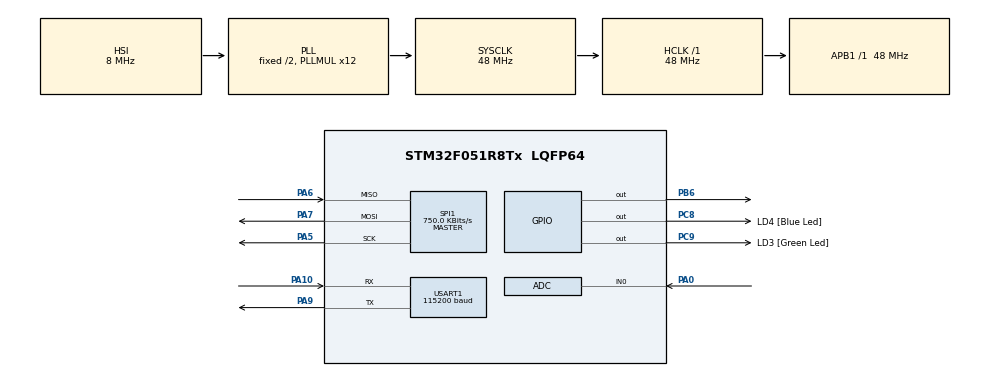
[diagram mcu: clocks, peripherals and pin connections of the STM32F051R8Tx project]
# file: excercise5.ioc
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Dma.Request0=SPI1_TX
Dma.SPI1_TX.0.Direction=DMA_MEMORY_TO_PERIPH
Dma.SPI1_TX.0.Instance=DMA1_Channel3
Dma.SPI1_TX.0.MemDataAlignment=DMA_MDATAALIGN_BYTE
Dma.SPI1_TX.0.MemInc=DMA_MINC_ENABLE
Dma.SPI1_TX.0.Mode=DMA_NORMAL
Dma.SPI1_TX.0.PeriphDataAlignment=DMA_PDATAALIGN_BYTE
Dma.SPI1_TX.0.PeriphInc=DMA_PINC_DISABLE
Dma.SPI1_TX.0.Priority=DMA_PRIORITY_LOW
Mcu.Family=STM32F0
Mcu.Name=STM32F051R8Tx
Mcu.Package=LQFP64
NVIC.DMA1_Channel2_3_IRQn=true\:0\:0\:false\:false\:true\:false\:true\:true
NVIC.SPI1_IRQn=true\:0\:0\:false\:false\:true\:true\:true\:true
PA0.Mode=IN0
PA0.Signal=ADC_IN0
PA10.Mode=Asynchronous
PA10.Signal=USART1_RX
PA13.GPIO_Label=SWDIO
PA13.Mode=Serial_Wire
PA13.Signal=SYS_SWDIO
PA14.GPIO_Label=SWCLK
PA14.Mode=Serial_Wire
PA14.Signal=SYS_SWCLK
PA5.Mode=Full_Duplex_Master
PA5.Signal=SPI1_SCK
PA6.Mode=Full_Duplex_Master
PA6.Signal=SPI1_MISO
PA7.Mode=Full_Duplex_Master
PA7.Signal=SPI1_MOSI
PA9.Mode=Asynchronous
PA9.Signal=USART1_TX
PB6.Signal=GPIO_Output
PC8.GPIO_Label=LD4 [Blue Led]
PC8.Signal=GPIO_Output
PC9.GPIO_Label=LD3 [Green Led]
PC9.Signal=GPIO_Output
ProjectManager.HeapSize=0x200
ProjectManager.StackSize=0x400
ProjectManager.TargetToolchain=STM32CubeIDE
RCC.AHBFreq_Value=48000000
RCC.APB1Freq_Value=48000000
RCC.APB1TimFreq_Value=48000000
RCC.HCLKFreq_Value=48000000
RCC.PLLMUL=RCC_PLL_MUL12
RCC.SYSCLKFreq_VALUE=48000000
RCC.SYSCLKSource=RCC_SYSCLKSOURCE_PLLCLK
SPI1.BaudRatePrescaler=SPI_BAUDRATEPRESCALER_64
SPI1.CalculateBaudRate=750.0 KBits/s
SPI1.DataSize=SPI_DATASIZE_8BIT
SPI1.Direction=SPI_DIRECTION_2LINES
SPI1.Mode=SPI_MODE_MASTER
SPI1.VirtualType=VM_MASTER
USART1.BaudRate=115200
USART1.VirtualMode-Asynchronous=VM_ASYNC
board=STM32F0DISCOVERY

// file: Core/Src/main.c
/* USER CODE BEGIN Header */
/**
  ******************************************************************************
  * @file           : main.c
  * @brief          : Main program body
  ******************************************************************************
  * @attention
  *
  * Copyright (c) 2024 STMicroelectronics.
  * All rights reserved.
  *
  * This software is licensed under terms that can be found in the LICENSE file
  * in the root directory of this software component.
  * If no LICENSE file comes with this software, it is provided AS-IS.
  *
  ******************************************************************************
  */
/* USER CODE END Header */
#include "main.h"

/* USER CODE BEGIN Includes */
#include "stdio.h"
#include "string.h"
#include "stdint.h"
/* USER CODE END Includes */

ADC_HandleTypeDef hadc;

SPI_HandleTypeDef hspi1;
DMA_HandleTypeDef hdma_spi1_tx;

UART_HandleTypeDef huart1;

void SystemClock_Config(void);
static void MX_GPIO_Init(void);
static void MX_DMA_Init(void);
static void MX_SPI1_Init(void);
static void MX_USART1_UART_Init(void);
static void MX_ADC_Init(void);

int main(void)
{

  /* MCU Configuration--------------------------------------------------------*/

  /* Reset of all peripherals, Initializes the Flash interface and the Systick. */
  HAL_Init();

  /* Configure the system clock */
  SystemClock_Config();

  /* Initialize all configured peripherals */
  MX_GPIO_Init();
  MX_DMA_Init();
  MX_SPI1_Init();
  MX_USART1_UART_Init();
  MX_ADC_Init();
  /* USER CODE BEGIN 2 */

  	  /* variable to hold value of adc conversion into voltage */
	  float voltage = 0;

	  /*char array to hold the uart info */
	  char uart_buf[50];

	  /* array to hold the received values from the spi */
	  u_int8_t spi_buf[2];

	  /* the amount of the uart_buf used */
	  int uart_buf_len;

  /* USER CODE END 2 */

  /* Infinite loop */
  while (1)
  {

    /* USER CODE BEGIN 3 */

	  /*
	   Make sure the CNV pin is low to start just in case high before.
	   Added slight delay after just to give time for pin reset.
	   */
	  HAL_GPIO_WritePin(GPIOB, GPIO_PIN_6, GPIO_PIN_RESET);
	  HAL_Delay(1);

	  /*
	   Set the CNV pin high to start the conversion process on the ADC
	   Added a slight delay after just to give time for pin set
	   */
	  HAL_GPIO_WritePin(GPIOB, GPIO_PIN_6, GPIO_PIN_SET);
	  HAL_Delay(1);

	  /*
	   Set the CNV pin low to have ADC forward conversion info into SDO pin on the AFC which can be read
	   through the from the SPI communication.

	   The SPI receives the info and stores it into a buffer

	   Small delay to give time for stuff to occur
	   */
	  HAL_GPIO_WritePin(GPIOB, GPIO_PIN_6, GPIO_PIN_RESET);
	  HAL_SPI_Receive(&hspi1, spi_buf,2, HAL_MAX_DELAY);
	  HAL_Delay(2);

	  /*
	   The Uint8_t wasn't being dereferenced properly so moved into a Uin16_t type.

	   Added voltage calculation from the adc value with voltage of 5 in+
	   */
	  uint16_t adc_value = (spi_buf[0] << 8) | spi_buf[1];
	  voltage = (adc_value /65535.0) * 5; // voltage of 5 in.

	  /*
	   Create message to be transmitted through UART to computer

	   Transmit the data from the stored buffer to the COmputer which can be observed
	   on Serial in Putty on COM3

	   Have loop recur every 1 second to decrease the rate of output
	   */
	  uart_buf_len = sprintf(uart_buf,"%f V\r\n",voltage);
	  HAL_UART_Transmit(&huart1, (u_int8_t*)uart_buf, uart_buf_len, HAL_MAX_DELAY);
	  HAL_Delay(1000);

  }
  /* USER CODE END 3 */
}

void SystemClock_Config(void)
{
  RCC_OscInitTypeDef RCC_OscInitStruct = {0};
  RCC_ClkInitTypeDef RCC_ClkInitStruct = {0};
  RCC_PeriphCLKInitTypeDef PeriphClkInit = {0};

  /** Initializes the RCC Oscillators according to the specified parameters
  * in the RCC_OscInitTypeDef structure.
  */
  RCC_OscInitStruct.OscillatorType = RCC_OSCILLATORTYPE_HSI|RCC_OSCILLATORTYPE_HSI14;
  RCC_OscInitStruct.HSIState = RCC_HSI_ON;
  RCC_OscInitStruct.HSI14State = RCC_HSI14_ON;
  RCC_OscInitStruct.HSICalibrationValue = RCC_HSICALIBRATION_DEFAULT;
  RCC_OscInitStruct.HSI14CalibrationValue = 16;
  RCC_OscInitStruct.PLL.PLLState = RCC_PLL_ON;
  RCC_OscInitStruct.PLL.PLLSource = RCC_PLLSOURCE_HSI;
  RCC_OscInitStruct.PLL.PLLMUL = RCC_PLL_MUL12;
  RCC_OscInitStruct.PLL.PREDIV = RCC_PREDIV_DIV1;
  if (HAL_RCC_OscConfig(&RCC_OscInitStruct) != HAL_OK)
  {
    Error_Handler();
  }

  /** Initializes the CPU, AHB and APB buses clocks
  */
  RCC_ClkInitStruct.ClockType = RCC_CLOCKTYPE_HCLK|RCC_CLOCKTYPE_SYSCLK
                              |RCC_CLOCKTYPE_PCLK1;
  RCC_ClkInitStruct.SYSCLKSource = RCC_SYSCLKSOURCE_PLLCLK;
  RCC_ClkInitStruct.AHBCLKDivider = RCC_SYSCLK_DIV1;
  RCC_ClkInitStruct.APB1CLKDivider = RCC_HCLK_DIV1;

  if (HAL_RCC_ClockConfig(&RCC_ClkInitStruct, FLASH_LATENCY_1) != HAL_OK)
  {
    Error_Handler();
  }
  PeriphClkInit.PeriphClockSelection = RCC_PERIPHCLK_USART1;
  PeriphClkInit.Usart1ClockSelection = RCC_USART1CLKSOURCE_PCLK1;
  if (HAL_RCCEx_PeriphCLKConfig(&PeriphClkInit) != HAL_OK)
  {
    Error_Handler();
  }
}

static void MX_ADC_Init(void)
{

  ADC_ChannelConfTypeDef sConfig = {0};

  /** Configure the global features of the ADC (Clock, Resolution, Data Alignment and number of conversion)
  */
  hadc.Instance = ADC1;
  hadc.Init.ClockPrescaler = ADC_CLOCK_ASYNC_DIV1;
  hadc.Init.Resolution = ADC_RESOLUTION_12B;
  hadc.Init.DataAlign = ADC_DATAALIGN_RIGHT;
  hadc.Init.ScanConvMode = ADC_SCAN_DIRECTION_FORWARD;
  hadc.Init.EOCSelection = ADC_EOC_SINGLE_CONV;
  hadc.Init.LowPowerAutoWait = DISABLE;
  hadc.Init.LowPowerAutoPowerOff = DISABLE;
  hadc.Init.ContinuousConvMode = DISABLE;
  hadc.Init.DiscontinuousConvMode = DISABLE;
  hadc.Init.ExternalTrigConv = ADC_SOFTWARE_START;
  hadc.Init.ExternalTrigConvEdge = ADC_EXTERNALTRIGCONVEDGE_NONE;
  hadc.Init.DMAContinuousRequests = DISABLE;
  hadc.Init.Overrun = ADC_OVR_DATA_PRESERVED;
  if (HAL_ADC_Init(&hadc) != HAL_OK)
  {
    Error_Handler();
  }

  /** Configure for the selected ADC regular channel to be converted.
  */
  sConfig.Channel = ADC_CHANNEL_0;
  sConfig.Rank = ADC_RANK_CHANNEL_NUMBER;
  sConfig.SamplingTime = ADC_SAMPLETIME_1CYCLE_5;
  if (HAL_ADC_ConfigChannel(&hadc, &sConfig) != HAL_OK)
  {
    Error_Handler();
  }

}

static void MX_SPI1_Init(void)
{

  /* SPI1 parameter configuration*/
  hspi1.Instance = SPI1;
  hspi1.Init.Mode = SPI_MODE_MASTER;
  hspi1.Init.Direction = SPI_DIRECTION_2LINES;
  hspi1.Init.DataSize = SPI_DATASIZE_8BIT;
  hspi1.Init.CLKPolarity = SPI_POLARITY_LOW;
  hspi1.Init.CLKPhase = SPI_PHASE_1EDGE;
  hspi1.Init.NSS = SPI_NSS_SOFT;
  hspi1.Init.BaudRatePrescaler = SPI_BAUDRATEPRESCALER_64;
  hspi1.Init.FirstBit = SPI_FIRSTBIT_MSB;
  hspi1.Init.TIMode = SPI_TIMODE_DISABLE;
  hspi1.Init.CRCCalculation = SPI_CRCCALCULATION_DISABLE;
  hspi1.Init.CRCPolynomial = 7;
  hspi1.Init.CRCLength = SPI_CRC_LENGTH_DATASIZE;
  hspi1.Init.NSSPMode = SPI_NSS_PULSE_ENABLE;
  if (HAL_SPI_Init(&hspi1) != HAL_OK)
  {
    Error_Handler();
  }

}

static void MX_USART1_UART_Init(void)
{

  huart1.Instance = USART1;
  huart1.Init.BaudRate = 115200;
  huart1.Init.WordLength = UART_WORDLENGTH_8B;
  huart1.Init.StopBits = UART_STOPBITS_1;
  huart1.Init.Parity = UART_PARITY_NONE;
  huart1.Init.Mode = UART_MODE_TX_RX;
  huart1.Init.HwFlowCtl = UART_HWCONTROL_NONE;
  huart1.Init.OverSampling = UART_OVERSAMPLING_16;
  huart1.Init.OneBitSampling = UART_ONE_BIT_SAMPLE_DISABLE;
  huart1.AdvancedInit.AdvFeatureInit = UART_ADVFEATURE_NO_INIT;
  if (HAL_UART_Init(&huart1) != HAL_OK)
  {
    Error_Handler();
  }

}

static void MX_DMA_Init(void)
{

  /* DMA controller clock enable */
  __HAL_RCC_DMA1_CLK_ENABLE();

  /* DMA interrupt init */
  /* DMA1_Channel2_3_IRQn interrupt configuration */
  HAL_NVIC_SetPriority(DMA1_Channel2_3_IRQn, 0, 0);
  HAL_NVIC_EnableIRQ(DMA1_Channel2_3_IRQn);

}

static void MX_GPIO_Init(void)
{
  GPIO_InitTypeDef GPIO_InitStruct = {0};

  /* GPIO Ports Clock Enable */
  __HAL_RCC_GPIOA_CLK_ENABLE();
  __HAL_RCC_GPIOC_CLK_ENABLE();
  __HAL_RCC_GPIOB_CLK_ENABLE();

  /*Configure GPIO pin Output Level */
  HAL_GPIO_WritePin(GPIOC, LD4_Pin|LD3_Pin, GPIO_PIN_RESET);

  /*Configure GPIO pin Output Level */
  HAL_GPIO_WritePin(GPIOB, GPIO_PIN_6, GPIO_PIN_RESET);

  /*Configure GPIO pins : LD4_Pin LD3_Pin */
  GPIO_InitStruct.Pin = LD4_Pin|LD3_Pin;
  GPIO_InitStruct.Mode = GPIO_MODE_OUTPUT_PP;
  GPIO_InitStruct.Pull = GPIO_NOPULL;
  GPIO_InitStruct.Speed = GPIO_SPEED_FREQ_LOW;
  HAL_GPIO_Init(GPIOC, &GPIO_InitStruct);

  /*Configure GPIO pin : PB6 */
  GPIO_InitStruct.Pin = GPIO_PIN_6;
  GPIO_InitStruct.Mode = GPIO_MODE_OUTPUT_PP;
  GPIO_InitStruct.Pull = GPIO_NOPULL;
  GPIO_InitStruct.Speed = GPIO_SPEED_FREQ_LOW;
  HAL_GPIO_Init(GPIOB, &GPIO_InitStruct);

}

void Error_Handler(void)
{
  __disable_irq();
  while (1)
  {
  }
}
